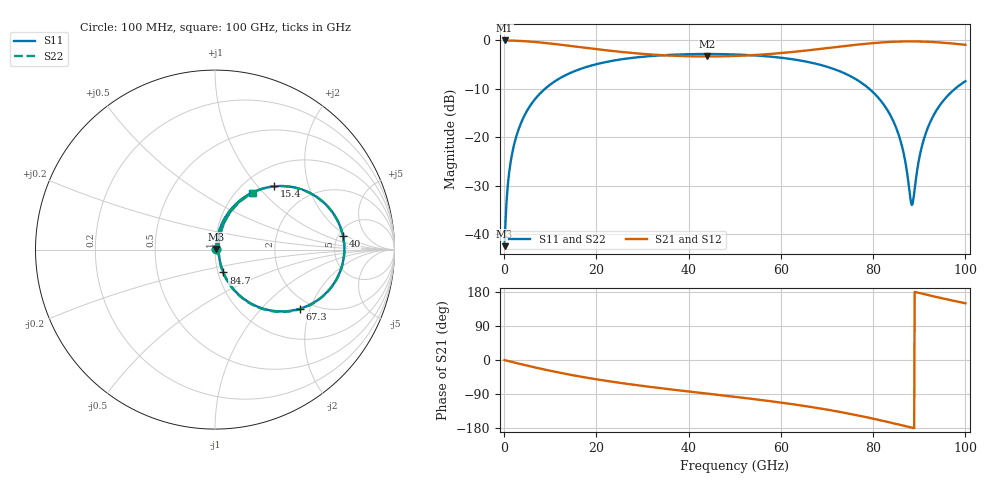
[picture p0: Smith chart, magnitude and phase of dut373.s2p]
! Touchstone file exported from HFSS 2026.1.0
!  File:  C:/ffzhzh/LocalFiles/Ansys_Project_Files/temp_train_RDL_373_1783503604_9504.aedt
!  Generated:  05:42:01 PM Jul  8, 2026
!  Design:  RDL
!  Project:  temp_train_RDL_373_1783503604_9504
! Variables:
!  h_bsmrdl = 2um
!  h_ox = 20um
!  h_rdl = 5um
!  h_sub = 80um
!  h_tmrdl = 3.79um
!  h_tsv = 80um
!  h_via = 3um
!  l_bsmrdl = 300um
!  l_sub = 1090.3um
!  l_tmrdl = 690.3um
!  m_sub = 200um
!  pitch = 46.12um
!  r_tsv = 6um
!  s_tmrdl = 10um
!  w_bsmrdl = 18um
!  w_sub = 500um
!  w_tmrdl = 10.02um
!  x_tsv_center1 = 695.31um
!  x_tsv_center2 = 1013.31um
!  x_tsv_center3 = 1713.63um
!  x_tsv_center4 = 2031.63um
!  x_tsv_center5 = 2731.95um
!  x_tsv_center6 = 3049.95um
# GHz S MA R 50.000000
! Terminal data exported
! Port[1] = TM_RDL1_1_T1
! Port[2] = TM_RDL1_1_T2
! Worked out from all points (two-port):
!   1000 points, 100 MHz to 100 GHz, reference 50 ohm
!   highest |S21| = -0.06 dB at 100 MHz (marker M1); lowest = -3.4 dB at 44 GHz (marker M2)
!   |S21| within 3 dB of the highest: start of sweep to 33.61 GHz; 54.32 GHz to end of sweep
!   lowest |S11| = -42.4 dB at 100 MHz (marker M3), VSWR 1.02, Z = 50.6 + j0.404 ohm
!   |S11| at or under -10 dB: start of sweep to 8.873 GHz; 79.15 GHz to 97.77 GHz (18.62 GHz wide, 21 % of centre)
!   |S22| runs from -42.4 to -2.8 dB; largest |S21 - S12| = 1.8e-14
!   S11 on the Smith chart (normalised r, x): 100 MHz: 1.01, +0.01; 15.4 GHz: 1.34, +1.23; 40 GHz: 5.50, +1.75; 67.3 GHz: 1.73, -1.71; 84.7 GHz: 1.06, -0.27; 100 GHz: 1.18, +0.87
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0.1  0.007558 31.8  0.9936 -0.3  0.9936 -0.3  0.007558 31.8
! Gamma 0 0 0 0
! Port Impedance 50 0 50 0
0.9  0.0361 76.1  0.9924 -2.7  0.9924 -2.7  0.0361 76.1
1.5  0.05899 78.3  0.991 -4.5  0.991 -4.5  0.05899 78.3
3.9  0.1492 75.0  0.9801 -11.7  0.9801 -11.7  0.1492 75.0
8.4  0.3018 63.5  0.9412 -24.2  0.9412 -24.2  0.3018 63.4
15.4  0.4826 46.9  0.8606 -41.3  0.8606 -41.3  0.4826 46.8
16.8  0.5106 44.0  0.8443 -44.4  0.8443 -44.4  0.5106 43.9
33.4  0.695 15.5  0.7044 -73.6  0.7044 -73.6  0.6951 15.3
40  0.7172 6.2  0.683 -83.1  0.683 -83.1  0.7172 6.0
44  0.7208 0.7  0.6796 -88.7  0.6796 -88.7  0.7208 0.5
50.1  0.7128 -7.6  0.6879 -97.3  0.6879 -97.3  0.7128 -7.9
66.7  0.5851 -33.7  0.7942 -124.3  0.7942 -124.3  0.5852 -34.1
67.3  0.5764 -34.8  0.8002 -125.5  0.8002 -125.5  0.5765 -35.2
77.1  0.3742 -55.2  0.9054 -147.3  0.9054 -147.3  0.3742 -55.6
83.4  0.1801 -68.4  0.9581 -164.1  0.9581 -164.1  0.1801 -68.9
84.7  0.1353 -69.9  0.9645 -167.8  0.9645 -167.8  0.1352 -70.5
86.4  0.0758 -67.9  0.97 -172.7  0.97 -172.7  0.07571 -68.6
88.5  0.02035 9.6  0.9718 -178.8  0.9718 -178.8  0.01997 9.3
90.4  0.07471 69.7  0.9686 175.7  0.9686 175.7  0.0746 69.6
92.3  0.1408 71.8  0.9609 170.3  0.9609 170.3  0.1407 71.5
95.6  0.2504 66.4  0.9385 161.1  0.9385 161.1  0.2504 66.0
100  0.3779 56.7  0.8962 149.7  0.8962 149.7  0.3779 56.3
